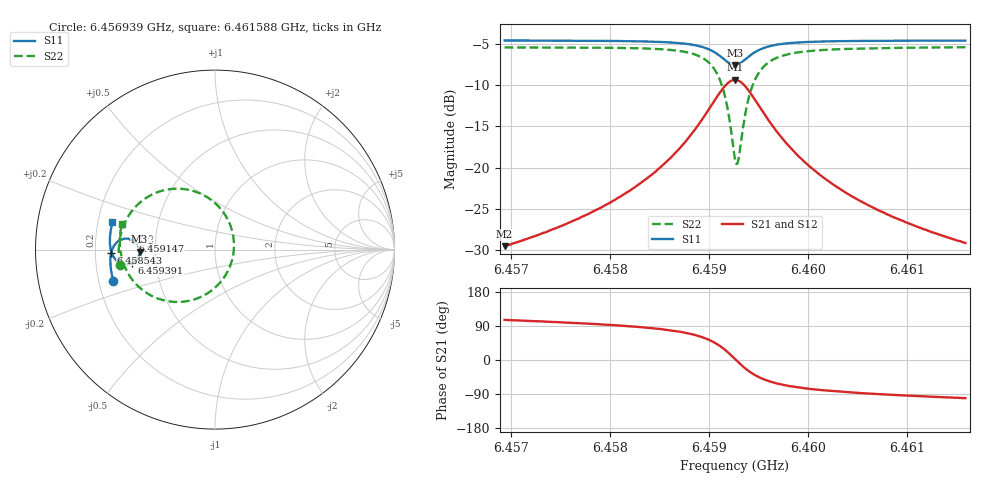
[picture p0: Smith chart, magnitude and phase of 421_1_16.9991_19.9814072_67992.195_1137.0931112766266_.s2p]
#  HZ  S  RI  R  50.00
! Rohde & Schwarz Vector Network Analyzer
! Rohde-Schwarz,ZNB20-2Port,1311601062101988,3.16
! Created: UTC 3/20/2024, 11:10:57 PM
! freq[Hz]  re:S11  im:S11  re:S21  im:S21  re:S12  im:S12  re:S22  im:S22
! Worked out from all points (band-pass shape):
!   401 points, 6.456939 GHz to 6.461588 GHz, reference 50 ohm
!   highest |S21| = -9.34 dB at 6.459264 GHz (marker M1); lowest = -29.6 dB at 6.456939 GHz (marker M2)
!   |S21| within 3 dB of the highest: 6.459031 GHz to 6.459496 GHz (465.1 kHz wide, 0.0072 % of centre)
!   lowest |S11| = -7.5 dB at 6.459264 GHz (marker M3), VSWR 2.45, Z = 20.4 - j0.539 ohm
!   |S11| at or under -10 dB: nowhere
!   |S22| runs from -19.5 to -5.4 dB; largest |S21 - S12| = 0.013
!   S11 on the Smith chart (normalised r, x): 6.456939 GHz: 0.26, -0.14; 6.458543 GHz: 0.27, -0.01; 6.459147 GHz: 0.37, +0.05; 6.459391 GHz: 0.37, -0.07; 6.461588 GHz: 0.26, +0.12
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6.4569392e9  -0.5658 -0.175  -0.00913 0.032  -0.00736 0.032  -0.5298 -0.0881
6.4577178e9  -0.5803 -0.1073  -0.00586 0.0498  -0.00328 0.0491  -0.536 0.00206
6.4581362e9  -0.5834 -0.0657  -0.000286 0.0683  0.00289 0.0671  -0.5287 0.0671
6.4584965e9  -0.5798 -0.0231  0.0135 0.0976  0.0175 0.0949  -0.5038 0.1468
6.458543e9  -0.5785 -0.0168  0.0167 0.103  0.0209 0.1  -0.4977 0.1598
6.4587638e9  -0.5653 0.017  0.0448 0.1365  0.049 0.1317  -0.4453 0.2357
6.4589149e9  -0.5429 0.0434  0.0895 0.1668  0.0927 0.1602  -0.3632 0.3001
6.4590544e9  -0.4998 0.061  0.1757 0.1834  0.1765 0.1762  -0.2061 0.3393
6.4591473e9  -0.4555 0.051  0.2646 0.153  0.2647 0.1471  -0.0414 0.2906
6.4591938e9  -0.4347 0.0325  0.3077 0.1109  0.309 0.1056  0.0406 0.2158
6.4592635e9  -0.42 -0.0109  0.341 0.0152  0.3445 0.00843  0.1056 0.0387
6.4592752e9  -0.4204 -0.0188  0.3409 -0.00233  0.3445 -0.00979  0.1053 0.00559
6.4592984e9  -0.4238 -0.0343  0.3354 -0.0364  0.3391 -0.0455  0.0948 -0.0592
6.4593449e9  -0.4393 -0.06  0.3075 -0.0959  0.3096 -0.1075  0.0385 -0.1713
6.4593914e9  -0.4609 -0.0761  0.2661 -0.1366  0.2653 -0.1495  -0.0447 -0.2455
6.4594844e9  -0.5038 -0.0827  0.1825 -0.1676  0.1764 -0.179  -0.211 -0.2919
6.4596354e9  -0.5471 -0.0624  0.0956 -0.1544  0.0873 -0.1605  -0.3767 -0.244
6.4597981e9  -0.5685 -0.0348  0.0512 -0.127  0.0437 -0.1297  -0.4565 -0.1732
6.4600422e9  -0.5812 0.000795  0.0223 -0.096  0.0165 -0.0966  -0.5045 -0.0916
6.4604025e9  -0.5856 0.0431  0.00599 -0.0688  0.00217 -0.0684  -0.5262 -0.0109
6.4608209e9  -0.5835 0.0849  -0.00133 -0.0513  -0.00411 -0.0504  -0.5303 0.0547
6.4615879e9  -0.5711 0.1526  -0.00641 -0.0342  -0.00812 -0.0332  -0.5187 0.1446
